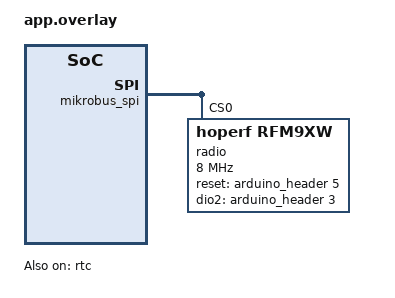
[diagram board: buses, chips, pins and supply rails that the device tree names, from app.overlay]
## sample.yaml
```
sample:
  description:
  name: shield_rfm9xw
common:
  build_only: true
  platform_allow:
    - nucleo_f446re
tests:
  samples.shield_rfm9xw.default:
    extra_args: SHIELD="launch_mikroe"
```

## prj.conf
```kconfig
CONFIG_SERIAL=y
CONFIG_STDOUT_CONSOLE=y

CONFIG_DEBUG=y
CONFIG_LOG=y
CONFIG_LOG_MODE_IMMEDIATE=y

# CONFIG_SHELL_LOG_BACKEND=y
# CONFIG_SHELL=y
# CONFIG_GPIO_SHELL=y

CONFIG_MODEM=y
CONFIG_RFM9XW=y
CONFIG_CBPRINTF_FP_SUPPORT=y
CONFIG_GPIO=y

CONFIG_MAIN_STACK_SIZE=4096

CONFIG_RTC=y
```

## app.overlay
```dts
/ {
	chosen {
        zephyr,console = &usart2;
        zephyr,shell-uart = &usart2;
	};
	aliases {
		led = &shield_led; 
		rtc = &rtc;
	};
	
};
&rtc{
	status = "okay";
};

&mikrobus_spi {
	radio: rfm98w@0 {
		#io-channel-cells= <1>;
		status = "okay";
		compatible = "hoperf,rfm9xw";
		reg = <0>;
		spi-max-frequency = <DT_FREQ_M(8)>; // pg. 20, Table 10 MAX 10MHz
		
		carrier-frequency = <DT_FREQ_M(434)>;
		deviation-frequency = <900>;
		bitrate = <100>;
		modulation-type = "RfmModulationType_FSK";

		reset-gpios = <&arduino_header 5 GPIO_ACTIVE_HIGH>;
		power-amplifier = "RfmPowerAmplifierSelection_PaBoost";
		max-power = "RfmMaxPower_10_8_DBM";
		output-power = <0>;

		dio2-gpios = <&arduino_header 3 GPIO_ACTIVE_HIGH>;

	};
};
```

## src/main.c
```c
#include "zephyr/logging/log.h"

#include <stdio.h>
#include <zephyr/device.h>
#include <zephyr/devicetree.h>
#include <zephyr/drivers/gpio.h>
#include <zephyr/kernel.h>
#include <zephyr/sys/util.h>
LOG_MODULE_REGISTER(main);

#include "rfm9Xw.h"

#include <zephyr/drivers/rtc.h>

const struct device *radio_dev = DEVICE_DT_GET(DT_NODELABEL(radio));
// Needed for Horus Packet
const struct device *const rtc = DEVICE_DT_GET(DT_ALIAS(rtc));

int main(void) {

    while (1) {

        k_msleep(1000);
    }
    return 0;
}
```
